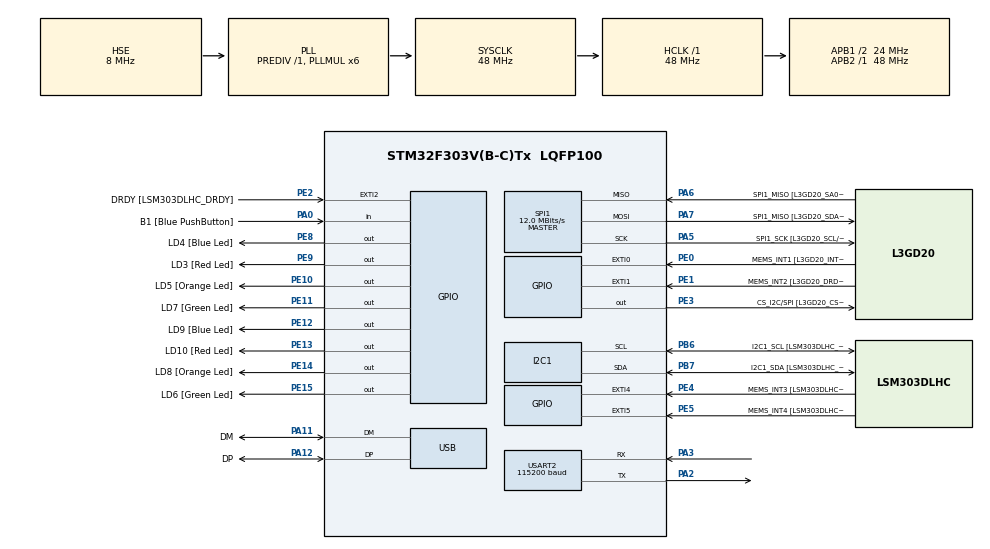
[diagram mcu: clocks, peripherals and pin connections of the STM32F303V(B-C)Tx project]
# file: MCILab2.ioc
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I2C1.Timing=0x2000090E
I2C1.Timing-I2C=0x2000090E
Mcu.Family=STM32F3
Mcu.Name=STM32F303V(B-C)Tx
Mcu.Package=LQFP100
NVIC.PriorityGroup=NVIC_PRIORITYGROUP_0
PA0.GPIO_Label=B1 [Blue PushButton]
PA0.Signal=GPIO_Input
PA11.GPIO_Label=DM
PA11.Mode=Device
PA11.Signal=USB_DM
PA12.GPIO_Label=DP
PA12.Mode=Device
PA12.Signal=USB_DP
PA13.GPIO_Label=SWDIO
PA13.Mode=Serial_Wire
PA13.Signal=SYS_JTMS-SWDIO
PA14.GPIO_Label=SWCLK
PA14.Mode=Serial_Wire
PA14.Signal=SYS_JTCK-SWCLK
PA2.Mode=Asynchronous
PA2.Signal=USART2_TX
PA3.Mode=Asynchronous
PA3.Signal=USART2_RX
PA5.GPIO_Label=SPI1_SCK [L3GD20_SCL/SPC]
PA5.Mode=Full_Duplex_Master
PA5.Signal=SPI1_SCK
PA6.GPIO_Label=SPI1_MISO [L3GD20_SA0/SDO]
PA6.Mode=Full_Duplex_Master
PA6.Signal=SPI1_MISO
PA7.GPIO_Label=SPI1_MISO [L3GD20_SDA/SDI/SDO]
PA7.Mode=Full_Duplex_Master
PA7.Signal=SPI1_MOSI
PB3.GPIO_Label=SWO
PB3.Signal=SYS_JTDO-TRACESWO
PB6.GPIO_Label=I2C1_SCL [LSM303DLHC_SCL]
PB6.GPIO_Pu=GPIO_PULLUP
PB6.Mode=I2C
PB6.Signal=I2C1_SCL
PB7.GPIO_Label=I2C1_SDA [LSM303DLHC_SDA]
PB7.GPIO_Pu=GPIO_PULLUP
PB7.Mode=I2C
PB7.Signal=I2C1_SDA
PC14-OSC32_IN.GPIO_Label=OSC32_IN
PC14-OSC32_IN.Signal=RCC_OSC32_IN
PC15-OSC32_OUT.GPIO_Label=OSC32_OUT
PC15-OSC32_OUT.Signal=RCC_OSC32_OUT
PE0.GPIO_Label=MEMS_INT1 [L3GD20_INT1]
PE0.GPIO_ModeDefaultEXTI=GPIO_MODE_EVT_RISING
PE0.Signal=GPXTI0
PE1.GPIO_Label=MEMS_INT2 [L3GD20_DRDY/INT2]
PE1.GPIO_ModeDefaultEXTI=GPIO_MODE_EVT_RISING
PE1.Signal=GPXTI1
PE10.GPIO_Label=LD5 [Orange Led]
PE10.Signal=GPIO_Output
PE11.GPIO_Label=LD7 [Green Led]
PE11.Signal=GPIO_Output
PE12.GPIO_Label=LD9 [Blue Led]
PE12.Signal=GPIO_Output
PE13.GPIO_Label=LD10 [Red Led]
PE13.Signal=GPIO_Output
PE14.GPIO_Label=LD8 [Orange Led]
PE14.Signal=GPIO_Output
PE15.GPIO_Label=LD6 [Green Led]
PE15.Signal=GPIO_Output
PE2.GPIO_Label=DRDY [LSM303DLHC_DRDY]
PE2.GPIO_ModeDefaultEXTI=GPIO_MODE_EVT_RISING
PE2.Signal=GPXTI2
PE3.GPIO_Label=CS_I2C/SPI [L3GD20_CS_I2C/SPI]
PE3.Signal=GPIO_Output
PE4.GPIO_Label=MEMS_INT3 [LSM303DLHC_INT1]
PE4.GPIO_ModeDefaultEXTI=GPIO_MODE_EVT_RISING
PE4.Signal=GPXTI4
PE5.GPIO_Label=MEMS_INT4 [LSM303DLHC_INT2]
PE5.GPIO_ModeDefaultEXTI=GPIO_MODE_EVT_RISING
PE5.Signal=GPXTI5
PE8.GPIO_Label=LD4 [Blue Led]
PE8.Signal=GPIO_Output
PE9.GPIO_Label=LD3 [Red Led]
PE9.Signal=GPIO_Output
PF0-OSC_IN.GPIO_Label=OSC_IN
PF0-OSC_IN.Mode=HSE-External-Clock-Source
PF0-OSC_IN.Signal=RCC_OSC_IN
PF1-OSC_OUT.GPIO_Label=OSC_OUT
PF1-OSC_OUT.Signal=RCC_OSC_OUT
ProjectManager.HeapSize=0x200
ProjectManager.StackSize=0x400
ProjectManager.TargetToolchain=CMake
RCC.AHBFreq_Value=48000000
RCC.APB1CLKDivider=RCC_HCLK_DIV2
RCC.APB1Freq_Value=24000000
RCC.APB1TimFreq_Value=48000000
RCC.APB2Freq_Value=48000000
RCC.APB2TimFreq_Value=48000000
RCC.CortexFreq_Value=48000000
RCC.HCLKFreq_Value=48000000
RCC.HSE_VALUE=8000000
RCC.HSI_VALUE=8000000
RCC.LSE_VALUE=32768
RCC.PLLMUL=RCC_PLL_MUL6
RCC.SYSCLKFreq_VALUE=48000000
RCC.SYSCLKSourceVirtual=RCC_SYSCLKSOURCE_PLLCLK
RCC.USBFreq_Value=48000000
SPI1.BaudRatePrescaler=SPI_BAUDRATEPRESCALER_4
SPI1.BaudRatePrescaler-Full_Duplex_Master=SPI_BAUDRATEPRESCALER_2
SPI1.CalculateBaudRate=12.0 MBits/s
SPI1.CalculateBaudRate-Full_Duplex_Master=24.0 MBits/s
SPI1.Direction=SPI_DIRECTION_2LINES
SPI1.Mode=SPI_MODE_MASTER
SPI1.Mode-Full_Duplex_Master=SPI_MODE_MASTER
SPI1.VirtualType=VM_MASTER
USART2.BaudRate=115200
USART2.VirtualMode-Asynchronous=VM_ASYNC
board=STM32F3DISCOVERY

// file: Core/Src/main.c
/* USER CODE BEGIN Header */
/**
  ******************************************************************************
  * @file           : main.c
  * @brief          : Main program body
  ******************************************************************************
  * @attention
  *
  * Copyright (c) 2026 STMicroelectronics.
  * All rights reserved.
  *
  * This software is licensed under terms that can be found in the LICENSE file
  * in the root directory of this software component.
  * If no LICENSE file comes with this software, it is provided AS-IS.
  *
  ******************************************************************************
  */

/* Includes ------------------------------------------------------------------*/
#include "main.h"
#include "string.h"
#include "stdarg.h"
#include "stdio.h"
/* USER CODE END Header */

I2C_HandleTypeDef hi2c1;

SPI_HandleTypeDef hspi1;

UART_HandleTypeDef huart2;

PCD_HandleTypeDef hpcd_USB_FS;

void SystemClock_Config(void);
static void MX_GPIO_Init(void);
static void MX_I2C1_Init(void);
static void MX_SPI1_Init(void);
static void MX_USART2_UART_Init(void);
static void MX_USB_PCD_Init(void);

/* USER CODE BEGIN 0 */
void myPrintf(const char *fmt, ...){
    char buffer[100];
    va_list args;
    va_start(args, fmt);
    vsnprintf(buffer, sizeof(buffer), fmt, args);
    va_end(args);

    uint8_t length = strlen(buffer);
    HAL_UART_Transmit(&huart2, (uint8_t *)buffer, length, HAL_MAX_DELAY);

  }

void verifyIdentity(int a, int b){
  int LHS = (a+b)*(a+b);
  int RHS = a*a + 2*a*b + b*b;
  myPrintf("a = %d, b = %d\r\n", a, b);
  myPrintf("LHS: (%d + %d)^2 = %d\r\n", a, b, LHS);
  myPrintf("RHS: %d^2 + 2*%d*%d + %d^2 = %d\r\n", a, a, b, b, RHS);
  if(LHS == RHS){
    myPrintf("Identity verified: Yes\r\n");
  } else {
    myPrintf("Identity not verified: No\r\n");
  }
}

void Encrypter(void){
char str[]= "Microcontrollers";
int key = 10365;
myPrintf("Original string: %s\r\n", str);
for (int i = 0; i < strlen(str); i++) {
    str[i] = str[i] + (key % 256);

}
myPrintf("Encrypted string: %s\r\n", str);
char original_str[] = "Microcontrollers";
for (int i = 0; i < strlen(str); i++) {
    str[i] = str[i] - (key % 256);
}
if (strcmp(str, original_str) == 0) {
    myPrintf("Decryption successful: %s\r\n", str);
}
else {
    myPrintf("Decryption failed: %s\r\n", str);}
}

void MultiplyMatrices(int A[2][2], int B[2][2], int C[2][2]){
  for(int i = 0; i < 2; i++){
    for(int j = 0; j < 2; j++){
      C[i][j] = 0;
      for(int k = 0; k < 2; k++){
        C[i][j] += A[i][k] * B[k][j];
      }
    }
  }
}

void printMatrix(const char *name, int M[2][2]){
  myPrintf("%s = \r\n", name);
  for(int i = 0; i < 2; i++){
    for(int j = 0; j < 2; j++){
      myPrintf("%d ", M[i][j]);
    }
    myPrintf("\r\n");
  }
}

void armstrong(void) {
  for (int num = 100; num <= 999; num++) {
    // digit extraction
    int digit1 = num / 100; // hundreds digit
     int digit2 = (num / 10) % 10; // tens digit
     int digit3 = num % 10; // units digit

     // sum is the cube of extracted digits
     int sum = (digit1 * digit1 * digit1) + (digit2 * digit2 * digit2) + (digit3 * digit3 * digit3);
     if (sum == num) {
       myPrintf("Armstrong number: %d\r\n", num); }
      }
    }

/* USER CODE END 0 */

int main(void)
{

  /* MCU Configuration--------------------------------------------------------*/

  /* Reset of all peripherals, Initializes the Flash interface and the Systick. */
   HAL_Init();

  /* Configure the system clock */
  SystemClock_Config();

  /* Initialize all configured peripherals */
  MX_GPIO_Init();
  MX_I2C1_Init();
  MX_SPI1_Init();
  MX_USART2_UART_Init();
  MX_USB_PCD_Init();
  /* USER CODE BEGIN 2 */
HAL_Delay(100);
//   int x = 42;
//   int y = 3;
//   myPrintf("The value of x is: %d\r\n", x);
//   myPrintf("The value of y is: %d\r\n", y);
// HAL_Delay(100);

// HAL_Init();
// int a = 5;
// int b = 10;
// verifyIdentity(a, b);
// int A[2][2] = {{1, 2}, {3, 4}};
// int B[2][2] = {{5, 6}, {7, 8}};
// int C[2][2];
// MultiplyMatrices(A, B, C);
// printMatrix("Matrix A", A);
// printMatrix("Matrix B", B);
// printMatrix("Matrix C = A * B", C);

armstrong();
  /* USER CODE END 2 */

  /* Infinite loop */
  while (1)
  {
    // Encrypter();

    /* USER CODE BEGIN 3 */
  //   uint8_t str[] = "Hello, World! \r\n";
  //   uint16_t length = sizeof(str) - 1;
  //   HAL_UART_Transmit(&huart2, str, length, HAL_MAX_DELAY);
  //   HAL_Delay(1000);
  }
  // Delay for 1 second

  /* USER CODE END 3 */
}

void SystemClock_Config(void)
{
  RCC_OscInitTypeDef RCC_OscInitStruct = {0};
  RCC_ClkInitTypeDef RCC_ClkInitStruct = {0};
  RCC_PeriphCLKInitTypeDef PeriphClkInit = {0};

  /** Initializes the RCC Oscillators according to the specified parameters
  * in the RCC_OscInitTypeDef structure.
  */
  RCC_OscInitStruct.OscillatorType = RCC_OSCILLATORTYPE_HSI|RCC_OSCILLATORTYPE_HSE;
  RCC_OscInitStruct.HSEState = RCC_HSE_BYPASS;
  RCC_OscInitStruct.HSEPredivValue = RCC_HSE_PREDIV_DIV1;
  RCC_OscInitStruct.HSIState = RCC_HSI_ON;
  RCC_OscInitStruct.HSICalibrationValue = RCC_HSICALIBRATION_DEFAULT;
  RCC_OscInitStruct.PLL.PLLState = RCC_PLL_ON;
  RCC_OscInitStruct.PLL.PLLSource = RCC_PLLSOURCE_HSE;
  RCC_OscInitStruct.PLL.PLLMUL = RCC_PLL_MUL6;
  if (HAL_RCC_OscConfig(&RCC_OscInitStruct) != HAL_OK)
  {
    Error_Handler();
  }

  /** Initializes the CPU, AHB and APB buses clocks
  */
  RCC_ClkInitStruct.ClockType = RCC_CLOCKTYPE_HCLK|RCC_CLOCKTYPE_SYSCLK
                              |RCC_CLOCKTYPE_PCLK1|RCC_CLOCKTYPE_PCLK2;
  RCC_ClkInitStruct.SYSCLKSource = RCC_SYSCLKSOURCE_PLLCLK;
  RCC_ClkInitStruct.AHBCLKDivider = RCC_SYSCLK_DIV1;
  RCC_ClkInitStruct.APB1CLKDivider = RCC_HCLK_DIV2;
  RCC_ClkInitStruct.APB2CLKDivider = RCC_HCLK_DIV1;

  if (HAL_RCC_ClockConfig(&RCC_ClkInitStruct, FLASH_LATENCY_1) != HAL_OK)
  {
    Error_Handler();
  }
  PeriphClkInit.PeriphClockSelection = RCC_PERIPHCLK_USB|RCC_PERIPHCLK_USART2
                              |RCC_PERIPHCLK_I2C1;
  PeriphClkInit.Usart2ClockSelection = RCC_USART2CLKSOURCE_PCLK1;
  PeriphClkInit.I2c1ClockSelection = RCC_I2C1CLKSOURCE_HSI;
  PeriphClkInit.USBClockSelection = RCC_USBCLKSOURCE_PLL;
  if (HAL_RCCEx_PeriphCLKConfig(&PeriphClkInit) != HAL_OK)
  {
    Error_Handler();
  }
}

static void MX_I2C1_Init(void)
{

  hi2c1.Instance = I2C1;
  hi2c1.Init.Timing = 0x2000090E;
  hi2c1.Init.OwnAddress1 = 0;
  hi2c1.Init.AddressingMode = I2C_ADDRESSINGMODE_7BIT;
  hi2c1.Init.DualAddressMode = I2C_DUALADDRESS_DISABLE;
  hi2c1.Init.OwnAddress2 = 0;
  hi2c1.Init.OwnAddress2Masks = I2C_OA2_NOMASK;
  hi2c1.Init.GeneralCallMode = I2C_GENERALCALL_DISABLE;
  hi2c1.Init.NoStretchMode = I2C_NOSTRETCH_DISABLE;
  if (HAL_I2C_Init(&hi2c1) != HAL_OK)
  {
    Error_Handler();
  }

  /** Configure Analogue filter
  */
  if (HAL_I2CEx_ConfigAnalogFilter(&hi2c1, I2C_ANALOGFILTER_ENABLE) != HAL_OK)
  {
    Error_Handler();
  }

  /** Configure Digital filter
  */
  if (HAL_I2CEx_ConfigDigitalFilter(&hi2c1, 0) != HAL_OK)
  {
    Error_Handler();
  }

}

static void MX_SPI1_Init(void)
{

  /* SPI1 parameter configuration*/
  hspi1.Instance = SPI1;
  hspi1.Init.Mode = SPI_MODE_MASTER;
  hspi1.Init.Direction = SPI_DIRECTION_2LINES;
  hspi1.Init.DataSize = SPI_DATASIZE_4BIT;
  hspi1.Init.CLKPolarity = SPI_POLARITY_LOW;
  hspi1.Init.CLKPhase = SPI_PHASE_1EDGE;
  hspi1.Init.NSS = SPI_NSS_SOFT;
  hspi1.Init.BaudRatePrescaler = SPI_BAUDRATEPRESCALER_4;
  hspi1.Init.FirstBit = SPI_FIRSTBIT_MSB;
  hspi1.Init.TIMode = SPI_TIMODE_DISABLE;
  hspi1.Init.CRCCalculation = SPI_CRCCALCULATION_DISABLE;
  hspi1.Init.CRCPolynomial = 7;
  hspi1.Init.CRCLength = SPI_CRC_LENGTH_DATASIZE;
  hspi1.Init.NSSPMode = SPI_NSS_PULSE_ENABLE;
  if (HAL_SPI_Init(&hspi1) != HAL_OK)
  {
    Error_Handler();
  }

}

static void MX_USART2_UART_Init(void)
{

  huart2.Instance = USART2;
  huart2.Init.BaudRate = 115200;
  huart2.Init.WordLength = UART_WORDLENGTH_8B;
  huart2.Init.StopBits = UART_STOPBITS_1;
  huart2.Init.Parity = UART_PARITY_NONE;
  huart2.Init.Mode = UART_MODE_TX_RX;
  huart2.Init.HwFlowCtl = UART_HWCONTROL_NONE;
  huart2.Init.OverSampling = UART_OVERSAMPLING_16;
  huart2.Init.OneBitSampling = UART_ONE_BIT_SAMPLE_DISABLE;
  huart2.AdvancedInit.AdvFeatureInit = UART_ADVFEATURE_NO_INIT;
  if (HAL_UART_Init(&huart2) != HAL_OK)
  {
    Error_Handler();
  }

}

static void MX_USB_PCD_Init(void)
{

  hpcd_USB_FS.Instance = USB;
  hpcd_USB_FS.Init.dev_endpoints = 8;
  hpcd_USB_FS.Init.speed = PCD_SPEED_FULL;
  hpcd_USB_FS.Init.phy_itface = PCD_PHY_EMBEDDED;
  hpcd_USB_FS.Init.low_power_enable = DISABLE;
  hpcd_USB_FS.Init.battery_charging_enable = DISABLE;
  if (HAL_PCD_Init(&hpcd_USB_FS) != HAL_OK)
  {
    Error_Handler();
  }

}

static void MX_GPIO_Init(void)
{
  GPIO_InitTypeDef GPIO_InitStruct = {0};

  /* GPIO Ports Clock Enable */
  __HAL_RCC_GPIOE_CLK_ENABLE();
  __HAL_RCC_GPIOC_CLK_ENABLE();
  __HAL_RCC_GPIOF_CLK_ENABLE();
  __HAL_RCC_GPIOA_CLK_ENABLE();
  __HAL_RCC_GPIOB_CLK_ENABLE();

  /*Configure GPIO pin Output Level */
  HAL_GPIO_WritePin(GPIOE, CS_I2C_SPI_Pin|LD4_Pin|LD3_Pin|LD5_Pin
                          |LD7_Pin|LD9_Pin|LD10_Pin|LD8_Pin
                          |LD6_Pin, GPIO_PIN_RESET);

  /*Configure GPIO pins : DRDY_Pin MEMS_INT3_Pin MEMS_INT4_Pin MEMS_INT1_Pin
                           MEMS_INT2_Pin */
  GPIO_InitStruct.Pin = DRDY_Pin|MEMS_INT3_Pin|MEMS_INT4_Pin|MEMS_INT1_Pin
                          |MEMS_INT2_Pin;
  GPIO_InitStruct.Mode = GPIO_MODE_EVT_RISING;
  GPIO_InitStruct.Pull = GPIO_NOPULL;
  HAL_GPIO_Init(GPIOE, &GPIO_InitStruct);

  /*Configure GPIO pins : CS_I2C_SPI_Pin LD4_Pin LD3_Pin LD5_Pin
                           LD7_Pin LD9_Pin LD10_Pin LD8_Pin
                           LD6_Pin */
  GPIO_InitStruct.Pin = CS_I2C_SPI_Pin|LD4_Pin|LD3_Pin|LD5_Pin
                          |LD7_Pin|LD9_Pin|LD10_Pin|LD8_Pin
                          |LD6_Pin;
  GPIO_InitStruct.Mode = GPIO_MODE_OUTPUT_PP;
  GPIO_InitStruct.Pull = GPIO_NOPULL;
  GPIO_InitStruct.Speed = GPIO_SPEED_FREQ_LOW;
  HAL_GPIO_Init(GPIOE, &GPIO_InitStruct);

  /*Configure GPIO pin : B1_Pin */
  GPIO_InitStruct.Pin = B1_Pin;
  GPIO_InitStruct.Mode = GPIO_MODE_INPUT;
  GPIO_InitStruct.Pull = GPIO_NOPULL;
  HAL_GPIO_Init(B1_GPIO_Port, &GPIO_InitStruct);

}

void Error_Handler(void)
{
  __disable_irq();
  while (1)
  {
  }
}
